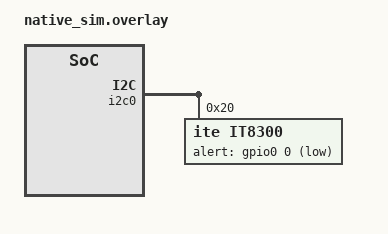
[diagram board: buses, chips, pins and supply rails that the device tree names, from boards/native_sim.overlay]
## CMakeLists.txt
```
# Copyright (c) 2026 ITE Corporation. All Rights Reserved.
# SPDX-License-Identifier: Apache-2.0

cmake_minimum_required(VERSION 3.28.0)
find_package(Zephyr REQUIRED HINTS $ENV{ZEPHYR_BASE})
project(gpio_ite_it8300)

target_sources(app PRIVATE src/main.c)
```

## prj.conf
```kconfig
# Copyright (c) 2026 ITE Corporation. All Rights Reserved.
# SPDX-License-Identifier: Apache-2.0

CONFIG_ZTEST=y

CONFIG_EMUL=y
CONFIG_I2C=y
CONFIG_I2C_EMUL=y

CONFIG_GPIO=y
CONFIG_GPIO_EMUL=y
CONFIG_GPIO_GET_CONFIG=y
CONFIG_GPIO_GET_DIRECTION=y

CONFIG_GPIO_ITE_IT8300=y
CONFIG_GPIO_ITE_IT8300_EMUL=y
```

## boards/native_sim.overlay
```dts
/*
 * Copyright (c) 2026 ITE Corporation. All Rights Reserved.
 *
 * SPDX-License-Identifier: Apache-2.0
 */

#include <zephyr/dt-bindings/gpio/gpio.h>

&i2c0 {
	status = "okay";

	it8300: gpio-expander@20 {
		compatible = "ite,it8300";
		reg = <0x20>;
		alert-gpios = <&gpio0 0 GPIO_ACTIVE_LOW>;
		#address-cells = <1>;
		#size-cells = <1>;

		it8300_gpe: gpio@5 {
			compatible = "ite,it8300-gpio";
			reg = <0x05 1 0x2f 1 0x32 7 0x2d 1 0x3d 1>;
			gpio-controller;
			#gpio-cells = <2>;
			ngpios = <7>;
			gpio-reserved-ranges = <1 1>;
		};
	};
};

/ {
	aliases {
		it8300 = &it8300;
		it8300-gpe = &it8300_gpe;
	};
};
```

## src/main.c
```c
/*
 * Copyright (c) 2026 ITE Corporation. All Rights Reserved.
 *
 * SPDX-License-Identifier: Apache-2.0
 */

#include <zephyr/drivers/emul.h>
#include <zephyr/drivers/gpio.h>
#include <zephyr/drivers/gpio/gpio_ite_it8300_emul.h>
#include <zephyr/ztest.h>

#define IT8300_REG_PDRGE  0x05U
#define IT8300_REG_GPISRE 0x2fU
#define IT8300_REG_GPCRE  0x32U
#define IT8300_REG_PDMRE  0x2dU
#define IT8300_REG_OODERE 0x3dU

#define TEST_GPIO_GROUP 4U
#define TEST_INT_PIN    4U
#define TEST_PIN_MASK   (BIT(0) | GENMASK(6, 2))

static struct gpio_callback test_callback;
static struct k_sem callback_sem;
static gpio_port_pins_t callback_pins;

static const struct device *const gpio_dev = DEVICE_DT_GET(DT_ALIAS(it8300_gpe));
static const struct emul *const it8300_emul = EMUL_DT_GET(DT_ALIAS(it8300));

static void it8300_before(void *data)
{
	ARG_UNUSED(data);

	zassert_true(device_is_ready(gpio_dev));
	zassert_not_null(it8300_emul);
	for (gpio_pin_t pin = 0; pin < 7; pin++) {
		if ((TEST_PIN_MASK & BIT(pin)) != 0U) {
			zassert_ok(gpio_pin_interrupt_configure(gpio_dev, pin, GPIO_INT_DISABLE));
		}
	}
	it8300_emul_reset(it8300_emul);
	callback_pins = 0U;
}

ZTEST_SUITE(gpio_ite_it8300, NULL, NULL, it8300_before, NULL, NULL);

ZTEST(gpio_ite_it8300, test_pin_configure)
{
	gpio_flags_t flags;
	uint8_t value;

	zassert_ok(gpio_pin_configure(gpio_dev, 2, GPIO_OUTPUT_HIGH | GPIO_OPEN_DRAIN));
	zassert_ok(it8300_emul_get_reg(it8300_emul, IT8300_REG_PDRGE, &value));
	zassert_equal(value, BIT(2));
	zassert_ok(it8300_emul_get_reg(it8300_emul, IT8300_REG_OODERE, &value));
	zassert_equal(value, BIT(2));
	zassert_ok(it8300_emul_get_reg(it8300_emul, IT8300_REG_GPCRE + 2, &value));
	zassert_equal(value, BIT(6));

	zassert_ok(gpio_pin_get_config(gpio_dev, 2, &flags));
	zassert_true((flags & GPIO_OUTPUT) != 0U);
	zassert_true((flags & GPIO_OUTPUT_HIGH) != 0U);
	zassert_true((flags & GPIO_OPEN_DRAIN) != 0U);

	zassert_ok(gpio_pin_configure(gpio_dev, 3, GPIO_INPUT | GPIO_PULL_UP));
	zassert_ok(it8300_emul_get_reg(it8300_emul, IT8300_REG_GPCRE + 3, &value));
	zassert_equal(value, BIT(7) | BIT(2));

	zassert_ok(gpio_pin_configure(gpio_dev, 3, GPIO_INPUT));
	zassert_ok(it8300_emul_get_reg(it8300_emul, IT8300_REG_GPCRE + 3, &value));
	zassert_equal(value, BIT(7));
}

ZTEST(gpio_ite_it8300, test_port_access)
{
	gpio_port_value_t value;
	uint8_t reg_value;

	zassert_ok(it8300_emul_set_reg(it8300_emul, IT8300_REG_PDMRE, 0x55));
	zassert_ok(gpio_port_get_raw(gpio_dev, &value));
	zassert_equal(value, 0x55);

	zassert_ok(gpio_port_set_masked_raw(gpio_dev, 0x0d, 0x05));
	zassert_ok(it8300_emul_get_reg(it8300_emul, IT8300_REG_PDRGE, &reg_value));
	zassert_equal(reg_value, 0x05);
	zassert_ok(gpio_port_get_raw(gpio_dev, &value));
	zassert_equal(value, 0x05);

	zassert_ok(gpio_port_toggle_bits(gpio_dev, 0x14));
	zassert_ok(it8300_emul_get_reg(it8300_emul, IT8300_REG_PDRGE, &reg_value));
	zassert_equal(reg_value, 0x11);
}

ZTEST(gpio_ite_it8300, test_get_direction)
{
	gpio_port_pins_t inputs;
	gpio_port_pins_t outputs;

	zassert_ok(gpio_pin_configure(gpio_dev, 0, GPIO_INPUT));
	zassert_ok(gpio_pin_configure(gpio_dev, 2, GPIO_OUTPUT_LOW));
	zassert_ok(gpio_port_get_direction(gpio_dev, BIT(0) | BIT(2), &inputs, &outputs));
	zassert_equal(inputs, BIT(0));
	zassert_equal(outputs, BIT(2));
}

ZTEST(gpio_ite_it8300, test_unsupported_configuration)
{
	zassert_equal(gpio_pin_configure(gpio_dev, 0, GPIO_DISCONNECTED), -ENOTSUP);
	zassert_equal(gpio_pin_configure(gpio_dev, 0, GPIO_OUTPUT | GPIO_INPUT), -ENOTSUP);
	zassert_equal(gpio_pin_configure(gpio_dev, 0, GPIO_OUTPUT | GPIO_OPEN_SOURCE), -ENOTSUP);
	zassert_equal(gpio_pin_interrupt_configure(gpio_dev, 0, GPIO_INT_LEVEL_HIGH), -ENOTSUP);
}

static void test_gpio_callback(const struct device *dev, struct gpio_callback *cb,
			       gpio_port_pins_t pins)
{
	ARG_UNUSED(dev);
	ARG_UNUSED(cb);

	callback_pins |= pins;
	k_sem_give(&callback_sem);
}

ZTEST(gpio_ite_it8300, test_rising_edge_interrupt)
{
	uint8_t value;

	k_sem_init(&callback_sem, 0, 1);
	gpio_init_callback(&test_callback, test_gpio_callback, BIT(TEST_INT_PIN));
	zassert_ok(gpio_add_callback(gpio_dev, &test_callback));

	zassert_ok(it8300_emul_set_input(it8300_emul, TEST_GPIO_GROUP, 0U));
	zassert_ok(gpio_pin_interrupt_configure(gpio_dev, TEST_INT_PIN, GPIO_INT_EDGE_RISING));
	zassert_ok(it8300_emul_set_input(it8300_emul, TEST_GPIO_GROUP, BIT(TEST_INT_PIN)));
	zassert_ok(k_sem_take(&callback_sem, K_MSEC(100)));
	zassert_equal(callback_pins, BIT(TEST_INT_PIN));
	/* Let the alert work finish releasing ALERT# before injecting another edge. */
	k_msleep(1);

	/* The work handler must clear both the per-group and gathered status. */
	zassert_ok(it8300_emul_get_reg(it8300_emul, IT8300_REG_GPISRE, &value));
	zassert_equal(value, 0U);
	zassert_ok(it8300_emul_get_reg(it8300_emul, 0x00U, &value));
	zassert_equal(value, 0U);

	/* A falling edge is latched and drained, but filtered from this callback. */
	callback_pins = 0U;
	zassert_ok(it8300_emul_set_input(it8300_emul, TEST_GPIO_GROUP, 0U));
	zassert_equal(k_sem_take(&callback_sem, K_MSEC(20)), -EAGAIN);
	zassert_equal(callback_pins, 0U);

	zassert_ok(gpio_remove_callback(gpio_dev, &test_callback));
}

ZTEST(gpio_ite_it8300, test_falling_and_both_edge_interrupt)
{
	k_sem_init(&callback_sem, 0, 1);
	gpio_init_callback(&test_callback, test_gpio_callback, BIT(TEST_INT_PIN));
	zassert_ok(gpio_add_callback(gpio_dev, &test_callback));

	/* Start high so the first injected transition is falling. */
	zassert_ok(it8300_emul_set_input(it8300_emul, TEST_GPIO_GROUP, BIT(TEST_INT_PIN)));
	zassert_ok(gpio_pin_interrupt_configure(gpio_dev, TEST_INT_PIN, GPIO_INT_EDGE_FALLING));
	zassert_ok(it8300_emul_set_input(it8300_emul, TEST_GPIO_GROUP, 0U));
	zassert_ok(k_sem_take(&callback_sem, K_MSEC(100)));
	zassert_equal(callback_pins, BIT(TEST_INT_PIN));
	k_msleep(1);

	callback_pins = 0U;
	zassert_ok(gpio_pin_interrupt_configure(gpio_dev, TEST_INT_PIN, GPIO_INT_EDGE_BOTH));
	zassert_ok(it8300_emul_set_input(it8300_emul, TEST_GPIO_GROUP, BIT(TEST_INT_PIN)));
	zassert_ok(k_sem_take(&callback_sem, K_MSEC(100)));
	zassert_equal(callback_pins, BIT(TEST_INT_PIN));
	k_msleep(1);

	callback_pins = 0U;
	zassert_ok(it8300_emul_set_input(it8300_emul, TEST_GPIO_GROUP, 0U));
	zassert_ok(k_sem_take(&callback_sem, K_MSEC(100)));
	zassert_equal(callback_pins, BIT(TEST_INT_PIN));

	zassert_ok(gpio_remove_callback(gpio_dev, &test_callback));
}
```
